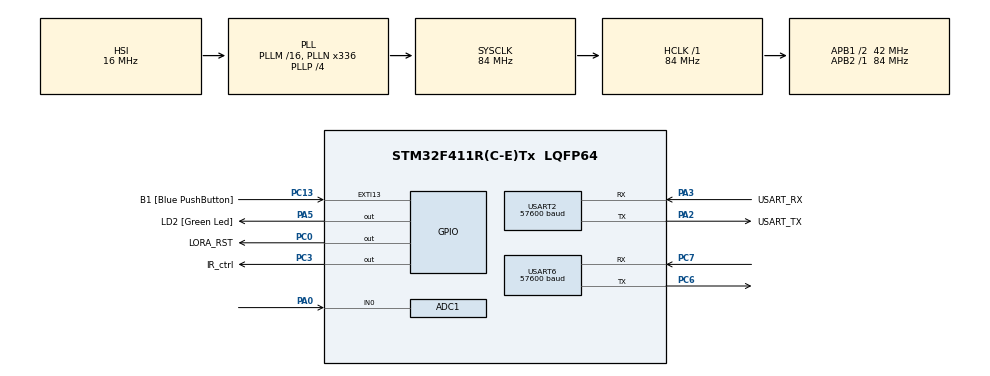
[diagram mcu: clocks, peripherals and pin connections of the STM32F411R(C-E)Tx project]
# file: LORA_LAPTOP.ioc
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ADC1.Channel-0\#ChannelRegularConversion=ADC_CHANNEL_0
ADC1.NbrOfConversionFlag=1
ADC1.Rank-0\#ChannelRegularConversion=1
ADC1.SamplingTime-0\#ChannelRegularConversion=ADC_SAMPLETIME_3CYCLES
ADC1.master=1
Mcu.Family=STM32F4
Mcu.Name=STM32F411R(C-E)Tx
Mcu.Package=LQFP64
NVIC.PriorityGroup=NVIC_PRIORITYGROUP_0
PA0-WKUP.Signal=ADCx_IN0
PA13.GPIO_Label=TMS
PA13.Mode=Serial_Wire
PA13.Signal=SYS_JTMS-SWDIO
PA14.GPIO_Label=TCK
PA14.Mode=Serial_Wire
PA14.Signal=SYS_JTCK-SWCLK
PA2.GPIO_Label=USART_TX
PA2.Mode=Asynchronous
PA2.Signal=USART2_TX
PA3.GPIO_Label=USART_RX
PA3.Mode=Asynchronous
PA3.Signal=USART2_RX
PA5.GPIO_Label=LD2 [Green Led]
PA5.Signal=GPIO_Output
PB3.GPIO_Label=SWO
PB3.Signal=SYS_JTDO-SWO
PC0.GPIO_Label=LORA_RST
PC0.Signal=GPIO_Output
PC13-ANTI_TAMP.GPIO_Label=B1 [Blue PushButton]
PC13-ANTI_TAMP.GPIO_ModeDefaultEXTI=GPIO_MODE_IT_FALLING
PC13-ANTI_TAMP.Signal=GPXTI13
PC14-OSC32_IN.Mode=LSE-External-Oscillator
PC14-OSC32_IN.Signal=RCC_OSC32_IN
PC15-OSC32_OUT.Mode=LSE-External-Oscillator
PC15-OSC32_OUT.Signal=RCC_OSC32_OUT
PC3.GPIO_Label=IR_ctrl
PC3.GPIO_PuPd=GPIO_NOPULL
PC3.Signal=GPIO_Output
PC6.Mode=Asynchronous
PC6.Signal=USART6_TX
PC7.Mode=Asynchronous
PC7.Signal=USART6_RX
PH0\ -\ OSC_IN.Mode=HSE-External-Clock-Source
PH0\ -\ OSC_IN.Signal=RCC_OSC_IN
PH1\ -\ OSC_OUT.Mode=HSE-External-Clock-Source
PH1\ -\ OSC_OUT.Signal=RCC_OSC_OUT
ProjectManager.HeapSize=0x200
ProjectManager.StackSize=0x400
ProjectManager.TargetToolchain=STM32CubeIDE
RCC.48MHZClocksFreq_Value=84000000
RCC.AHBFreq_Value=84000000
RCC.APB1CLKDivider=RCC_HCLK_DIV2
RCC.APB1Freq_Value=42000000
RCC.APB1TimFreq_Value=84000000
RCC.APB2Freq_Value=84000000
RCC.APB2TimFreq_Value=84000000
RCC.CortexFreq_Value=84000000
RCC.FLatency-AdvancedSettings=FLASH_LATENCY_2
RCC.HCLKFreq_Value=84000000
RCC.HSE_VALUE=8000000
RCC.HSI_VALUE=16000000
RCC.PLLN=336
RCC.PLLP=RCC_PLLP_DIV4
RCC.SYSCLKFreq_VALUE=84000000
RCC.SYSCLKSource=RCC_SYSCLKSOURCE_PLLCLK
RCC.VCOOutputFreq_Value=336000000
SH.ADCx_IN0.0=ADC1_IN0,IN0
USART2.BaudRate=57600
USART2.VirtualMode=VM_ASYNC
USART6.BaudRate=57600
USART6.VirtualMode=VM_ASYNC
board=NUCLEO-F411RE

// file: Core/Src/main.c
/* USER CODE BEGIN Header */
/**
  ******************************************************************************
  * @file           : main.c
  * @brief          : Main program body
  ******************************************************************************
  * @attention
  *
  * Copyright (c) 2022 STMicroelectronics.
  * All rights reserved.
  *
  * This software is licensed under terms that can be found in the LICENSE file
  * in the root directory of this software component.
  * If no LICENSE file comes with this software, it is provided AS-IS.
  *
  ******************************************************************************
  */
/* USER CODE END Header */
#include "main.h"
#include "adc.h"
#include "usart.h"
#include "gpio.h"

/* USER CODE BEGIN Includes */
#include "lora.h"
#include <stdio.h>
#include <string.h>

/* USER CODE END Includes */

/* USER CODE BEGIN PV */
uint8_t c[2] = {0};

/* USER CODE END PV */

void SystemClock_Config(void);
/* USER CODE BEGIN PFP */
uint16_t readSensor();

/* USER CODE END PFP */

int main(void)
{

  /* MCU Configuration--------------------------------------------------------*/

  /* Reset of all peripherals, Initializes the Flash interface and the Systick. */
  HAL_Init();

  /* Configure the system clock */
  SystemClock_Config();

  /* Initialize all configured peripherals */
  MX_GPIO_Init();
  MX_ADC1_Init();
  MX_USART2_UART_Init();
  MX_USART6_UART_Init();
  /* USER CODE BEGIN 2 */

     // RESET LORA
	HAL_GPIO_WritePin(LORA_RST_GPIO_Port, LORA_RST_Pin, 1);
	HAL_Delay(500);
	HAL_GPIO_WritePin(LORA_RST_GPIO_Port, LORA_RST_Pin, 0);
	HAL_Delay(500);
	HAL_GPIO_WritePin(LORA_RST_GPIO_Port, LORA_RST_Pin, 1);
	HAL_Delay(500);

	// Clear UART buffer before main code execution
	HAL_StatusTypeDef ret = HAL_OK;
	while (ret != HAL_TIMEOUT) ret = HAL_UART_Receive(&huart6, c, 1, 100);
	// INIT LORA
	lora_instance lora;
	init_lora_instance(&huart6, &lora);
	// PRINT HWEUI
	HAL_UART_Transmit(&huart2, (uint8_t*)"Started LoRa: ", 14, 100);
	HAL_UART_Transmit(&huart2, lora.hweui, strlen((char*)lora.hweui), 100);
	HAL_UART_Transmit(&huart2, (uint8_t*)"\r\n\r\n", 2, 100);

	HAL_Delay(200);

	lora_response lo = lora_joinOtaa(&lora);
	if (lo){
		uint8_t bu[50] = {0};
		sprintf((char*)bu, "Error joining OTAA with code: %i\r\n", lo);
		HAL_UART_Transmit(&huart2, bu, strlen((char*)bu), 100);
	}else{
		HAL_UART_Transmit(&huart2, (uint8_t*)"Joined OTAA\r\n", 13, 100);
	}
  /* USER CODE END 2 */

	uint16_t dustval;
	uint8_t tt[100] = {0};
	dustval = readSensor();
	sprintf((char*)tt, "dust val = %i\r\n", dustval);
	HAL_UART_Transmit(&huart2, tt, strlen((char*)tt), 100);
	lora_sendData(&lora, dustval);

  /* Infinite loop */
  while (1)
  {
  }
}

void SystemClock_Config(void)
{
  RCC_OscInitTypeDef RCC_OscInitStruct = {0};
  RCC_ClkInitTypeDef RCC_ClkInitStruct = {0};

  /** Configure the main internal regulator output voltage
  */
  __HAL_RCC_PWR_CLK_ENABLE();
  __HAL_PWR_VOLTAGESCALING_CONFIG(PWR_REGULATOR_VOLTAGE_SCALE1);
  /** Initializes the RCC Oscillators according to the specified parameters
  * in the RCC_OscInitTypeDef structure.
  */
  RCC_OscInitStruct.OscillatorType = RCC_OSCILLATORTYPE_HSI;
  RCC_OscInitStruct.HSIState = RCC_HSI_ON;
  RCC_OscInitStruct.HSICalibrationValue = RCC_HSICALIBRATION_DEFAULT;
  RCC_OscInitStruct.PLL.PLLState = RCC_PLL_ON;
  RCC_OscInitStruct.PLL.PLLSource = RCC_PLLSOURCE_HSI;
  RCC_OscInitStruct.PLL.PLLM = 16;
  RCC_OscInitStruct.PLL.PLLN = 336;
  RCC_OscInitStruct.PLL.PLLP = RCC_PLLP_DIV4;
  RCC_OscInitStruct.PLL.PLLQ = 4;
  if (HAL_RCC_OscConfig(&RCC_OscInitStruct) != HAL_OK)
  {
    Error_Handler();
  }
  /** Initializes the CPU, AHB and APB buses clocks
  */
  RCC_ClkInitStruct.ClockType = RCC_CLOCKTYPE_HCLK|RCC_CLOCKTYPE_SYSCLK
                              |RCC_CLOCKTYPE_PCLK1|RCC_CLOCKTYPE_PCLK2;
  RCC_ClkInitStruct.SYSCLKSource = RCC_SYSCLKSOURCE_PLLCLK;
  RCC_ClkInitStruct.AHBCLKDivider = RCC_SYSCLK_DIV1;
  RCC_ClkInitStruct.APB1CLKDivider = RCC_HCLK_DIV2;
  RCC_ClkInitStruct.APB2CLKDivider = RCC_HCLK_DIV1;

  if (HAL_RCC_ClockConfig(&RCC_ClkInitStruct, FLASH_LATENCY_2) != HAL_OK)
  {
    Error_Handler();
  }
}

/* USER CODE BEGIN 4 */
uint16_t readSensor(){

	uint16_t DustValue = 0;
	/* Activates the Infrared light */
	HAL_GPIO_WritePin(IR_ctrl_GPIO_Port, IR_ctrl_Pin, 0);
	/* Wait to ensure active LED*/
	HAL_Delay(280);
	/* Activate ADC */
	HAL_ADC_Start(&hadc1);
	/* Get current Dust Voltage */
	HAL_ADC_PollForConversion(&hadc1, 100);
	DustValue = HAL_ADC_GetValue(&hadc1);
	/* Wait to ensure Data has been correctly read */
	HAL_Delay(40);
	HAL_GPIO_WritePin(IR_ctrl_GPIO_Port, IR_ctrl_Pin, 1);
	/* Wait remaining 99% of Duty-Cycle*/
	HAL_Delay(1000);

	return DustValue;
}

/* USER CODE END 4 */

void Error_Handler(void)
{
  __disable_irq();
  while (1)
  {
  }
}
